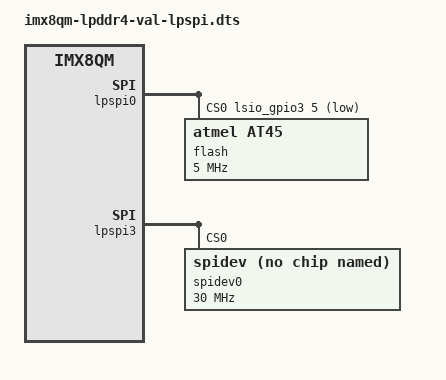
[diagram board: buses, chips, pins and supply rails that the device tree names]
// SPDX-License-Identifier: GPL-2.0+
/*
 * Copyright 2017~2019 NXP
 */

#include "imx8qm-lpddr4-val.dts"

&iomuxc {
	pinctrl_lpspi0: lpspi0grp {
		fsl,pins = <
			IMX8QM_SPI0_SCK_DMA_SPI0_SCK		0x6000040
			IMX8QM_SPI0_SDO_DMA_SPI0_SDO		0x6000040
			IMX8QM_SPI0_SDI_DMA_SPI0_SDI		0x6000040
		>;
	};

	pinctrl_lpspi0_cs: lpspi0cs {
		fsl,pins = <
			IMX8QM_SPI0_CS0_LSIO_GPIO3_IO05		0x21
		>;
	};

	pinctrl_lpspi3: lpspi3grp {
		fsl,pins = <
			IMX8QM_SPI3_SCK_DMA_SPI3_SCK		0x6000040
			IMX8QM_SPI3_SDO_DMA_SPI3_SDO		0x6000040
			IMX8QM_SPI3_SDI_DMA_SPI3_SDI		0x6000040
			IMX8QM_SPI3_CS0_DMA_SPI3_CS0		0x6000040
		>;
	};
};

&lpspi0 {
	fsl,spi-num-chipselects = <1>;
	pinctrl-names = "default";
	pinctrl-0 = <&pinctrl_lpspi0 &pinctrl_lpspi0_cs>;
	cs-gpios = <&lsio_gpio3 5 GPIO_ACTIVE_LOW>;
	status = "okay";

	flash: at45db041e@0 {
		#address-cells = <1>;
		#size-cells = <1>;
		compatible = "atmel,at45", "atmel,dataflash";
		spi-max-frequency = <5000000>;
		reg = <0>;
	};
};

&lpspi3 {
	fsl,spi-num-chipselects = <1>;
	pinctrl-names = "default";
	pinctrl-0 = <&pinctrl_lpspi3>;
	status = "okay";

	spidev0: spi@0 {
		reg = <0>;
		compatible = "rohm,dh2228fv";
		spi-max-frequency = <30000000>;
	};
};
